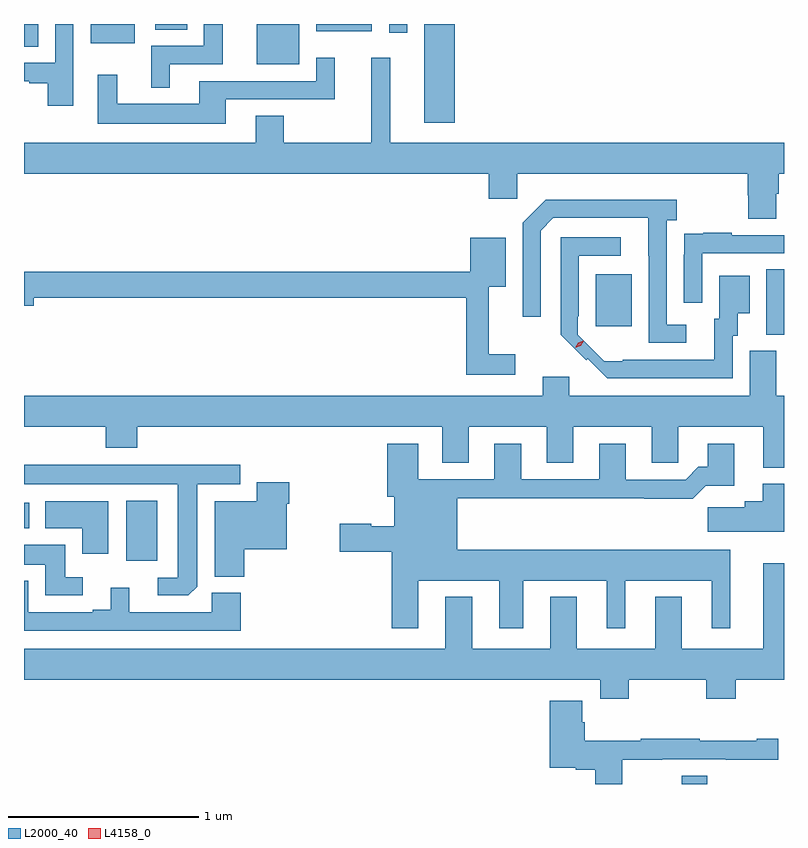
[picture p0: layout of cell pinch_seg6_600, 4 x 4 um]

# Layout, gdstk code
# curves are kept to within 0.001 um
import gdstk
lib = gdstk.Library(unit=1e-6, precision=1e-09)
def R(c, l, rs):  # rectangles x0, y0, x1, y1
    for r in rs: c.add(gdstk.rectangle(r[:2], r[2:], *l))
def P(c, l, *ps):  # polygons
    for p in ps: c.add(gdstk.Polygon(p, *l))
L2000_40 = (2000, 40)
L4158_0 = (4158, 0)

pinch_seg6_600 = lib.new_cell('pinch_seg6_600')
R(pinch_seg6_600, L2000_40, [(493.034,982.752,493.168,982.796), (490.109,983.928,490.273,984.244), (489.571,984.098,489.598,984.232), (493.478,985.117,493.571,985.46), (492.581,985.161,492.769,985.435), (491.678,986.232,491.837,986.752), (490.796,986.54,491.02,986.752), (489.571,986.632,489.646,986.752), (489.923,986.651,490.153,986.752), (491.493,986.706,491.589,986.752), (491.108,986.714,491.401,986.752), (490.262,986.722,490.429,986.752)])
P(pinch_seg6_600, L2000_40, [(490.339,986.541),(490.616,986.541),(490.616,986.752),(490.518,986.752),(490.518,986.637),(490.241,986.637),(490.241,986.417),(490.339,986.417)],
  [(489.831,986.752),(489.735,986.752),(489.735,986.547),(489.571,986.547),(489.571,986.451),(489.599,986.451),(489.599,986.439),(489.695,986.439),(489.695,986.322),(489.831,986.322)],
  [(493.531,985.858),(493.544,985.858),(493.544,985.964),(493.571,985.964),(493.571,986.128),(491.498,986.128),(491.498,986.575),(491.399,986.575),(491.399,986.128),(490.938,986.128),(490.938,986.27),(490.79,986.27),(490.79,986.128),(489.571,986.128),(489.571,985.964),(492.017,985.964),(492.017,985.833),(492.168,985.833),(492.168,985.964),(493.379,985.964),(493.379,985.851),(493.384,985.851),(493.384,985.726),(493.531,985.726)],
  [(490.633,986.355),(491.207,986.355),(491.207,986.575),(491.109,986.575),(491.109,986.451),(490.493,986.451),(490.493,986.332),(490.063,986.332),(490.063,986.485),(489.959,986.485),(489.959,986.228),(490.633,986.228)],
  [(493.057,985.17),(492.954,985.17),(492.954,985.718),(493.006,985.718),(493.006,985.828),(492.316,985.828),(492.195,985.707),(492.195,985.212),(492.291,985.212),(492.291,985.665),(492.357,985.731),(492.857,985.731),(492.858,985.074),(493.057,985.074)],
  [(493.14,985.545),(493.571,985.545),(493.571,985.641),(493.295,985.641),(493.295,985.654),(493.147,985.654),(493.147,985.647),(493.045,985.647),(493.045,985.538),(493.044,985.538),(493.044,985.284),(493.14,985.284)],
  [(493.302,985.11),(493.327,985.11),(493.327,985.229),(493.39,985.229),(493.39,985.426),(493.229,985.426),(493.229,985.2),(493.205,985.2),(493.205,984.984),(492.721,984.984),(492.721,984.978),(492.624,984.978),(492.486,985.116),(492.486,985.213),(492.492,985.213),(492.492,985.533),(492.712,985.533),(492.712,985.629),(492.396,985.629),(492.396,985.116),(492.53,984.983),(492.538,984.991),(492.641,984.888),(493.302,984.888)],
  [(492.157,985.015),(492.017,985.015),(492.017,985.37),(492.106,985.37),(492.106,985.627),(491.919,985.627),(491.919,985.448),(489.571,985.448),(489.571,985.27),(489.622,985.27),(489.622,985.312),(491.899,985.312),(491.899,984.906),(492.157,984.906)],
  [(493.571,984.796),(493.531,984.796),(493.531,985.032),(493.391,985.032),(493.391,984.796),(492.442,984.796),(492.442,984.895),(492.302,984.895),(492.302,984.796),(489.571,984.796),(489.571,984.632),(490.001,984.632),(490.001,984.521),(490.166,984.521),(490.166,984.632),(491.771,984.632),(491.771,984.442),(491.911,984.442),(491.911,984.632),(492.323,984.632),(492.323,984.442),(492.463,984.442),(492.463,984.632),(492.875,984.632),(492.875,984.442),(493.014,984.442),(493.014,984.632),(493.463,984.632),(493.463,984.416),(493.571,984.416)],
  [(491.647,983.822),(492.071,983.822),(492.071,983.571),(492.199,983.571),(492.199,983.822),(492.638,983.822),(492.638,983.571),(492.736,983.571),(492.736,983.822),(493.19,983.822),(493.19,983.571),(493.288,983.571),(493.288,983.986),(491.851,983.986),(491.851,984.256),(492.835,984.256),(492.835,984.254),(493.091,984.254),(493.16,984.323),(493.309,984.323),(493.309,984.544),(493.169,984.544),(493.169,984.421),(493.12,984.421),(493.053,984.354),(492.739,984.354),(492.739,984.544),(492.599,984.544),(492.599,984.357),(492.187,984.357),(492.187,984.544),(492.047,984.544),(492.047,984.357),(491.647,984.357),(491.647,984.544),(491.483,984.544),(491.483,984.264),(491.519,984.264),(491.519,984.109),(491.399,984.109),(491.399,984.122),(491.232,984.122),(491.232,983.975),(491.507,983.975),(491.507,983.571),(491.647,983.571)],
  [(490.482,983.791),(490.483,984.329),(490.708,984.329),(490.708,984.433),(489.571,984.433),(489.571,984.329),(490.379,984.329),(490.379,983.838),(490.275,983.838),(490.275,983.745),(490.436,983.745)],
  [(490.73,983.987),(490.954,983.987),(490.954,984.227),(490.967,984.227),(490.967,984.34),(490.796,984.34),(490.796,984.241),(490.574,984.241),(490.574,983.843),(490.73,983.843)],
  [(493.571,984.331),(493.46,984.331),(493.46,984.241),(493.364,984.241),(493.364,984.209),(493.17,984.209),(493.17,984.08),(493.571,984.08)],
  [(490.015,984.241),(489.683,984.241),(489.683,984.098),(489.878,984.098),(489.878,983.964),(490.015,983.964)],
  [(489.88,983.841),(489.787,983.841),(489.787,984.01),(489.571,984.01),(489.571,983.906),(489.683,983.906),(489.683,983.745),(489.88,983.745)],
  [(492.753,983.3),(493.162,983.3),(493.162,983.201),(493.317,983.201),(493.317,983.3),(493.571,983.3),(493.571,983.914),(493.463,983.914),(493.463,983.464),(493.033,983.464),(493.033,983.737),(492.893,983.737),(492.893,983.464),(492.481,983.464),(492.481,983.737),(492.341,983.737),(492.341,983.464),(491.929,983.464),(491.929,983.737),(491.789,983.737),(491.789,983.464),(489.571,983.464),(489.571,983.3),(492.605,983.3),(492.605,983.201),(492.753,983.201)],
  [(490.712,983.758),(490.56,983.758),(490.56,983.655),(490.126,983.655),(490.126,983.785),(490.028,983.785),(490.028,983.668),(489.932,983.668),(489.932,983.655),(489.594,983.655),(489.594,983.821),(489.571,983.821),(489.571,983.559),(490.712,983.559)],
  [(492.72,982.88),(492.93,982.88),(492.93,982.881),(493.264,982.881),(493.264,982.88),(493.54,982.88),(493.54,982.99),(493.427,982.99),(493.427,982.98),(493.127,982.98),(493.127,982.99),(492.817,982.99),(492.817,982.98),(492.521,982.98),(492.521,983.076),(492.508,983.076),(492.508,983.191),(492.338,983.191),(492.338,982.838),(492.474,982.838),(492.474,982.826),(492.578,982.826),(492.578,982.752),(492.72,982.752)])
P(pinch_seg6_600, L4158_0, [(492.472,985.048),(492.472,985.049),(492.488,985.074),(492.515,985.084),(492.516,985.084),(492.516,985.084),(492.5,985.058),(492.473,985.048)])

lib.write_gds('pinch_seg6_600.gds')
